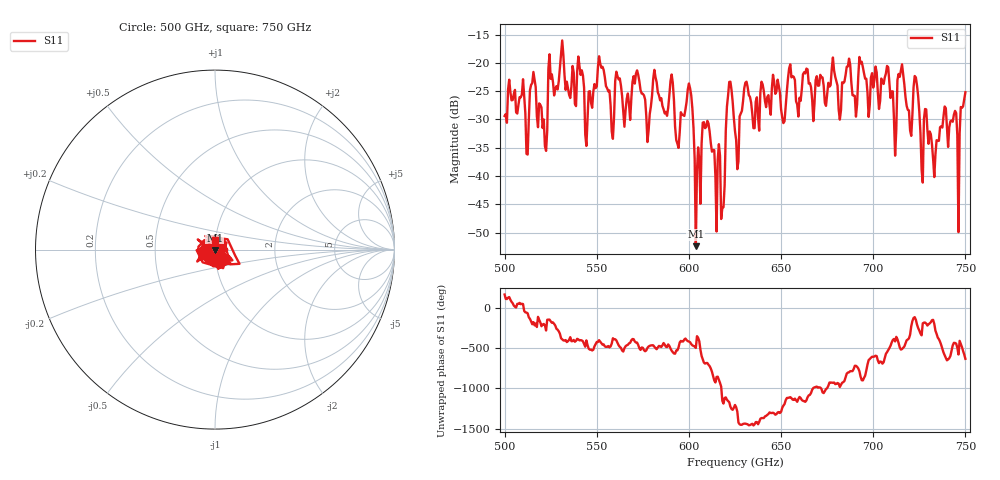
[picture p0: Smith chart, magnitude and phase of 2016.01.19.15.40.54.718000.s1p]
!Created with skrf (http://scikit-rf.org).
# GHz S RI R 50.0
!freq ReS11 ImS11
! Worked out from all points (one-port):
!   401 points, 500 GHz to 750 GHz, reference 50 ohm
!   lowest |S11| = -52.4 dB at 603.8 GHz (marker M1), VSWR 1.00, Z = 49.8 - j0.159 ohm
!   |S11| at or under -10 dB: start of sweep to end of sweep
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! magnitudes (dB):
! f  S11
! 500 GHz  -29.4
! 512.5 GHz  -36.2
! 515.6 GHz  -21.6
! 521.9 GHz  -34.7
! 525 GHz  -22.8
! 531.2 GHz  -16.0
! 545 GHz  -29.8
! 551.9 GHz  -20.1
! 558.1 GHz  -32.2
! 562.5 GHz  -22.8
! 578.1 GHz  -31.9
! 590.6 GHz  -22.1
! 593.8 GHz  -34.3
! 600.6 GHz  -24.5
! 603.8 GHz  -52.4
! 609.4 GHz  -31.3
! 618.1 GHz  -45.6
! 621.9 GHz  -23.4
! 625 GHz  -32.1
! 656.2 GHz  -22.3
! 687.5 GHz  -20.3
! 715 GHz  -21.3
! 718.8 GHz  -28.3
! 723.1 GHz  -22.6
! 726.2 GHz  -38.9
! 733.1 GHz  -40.2
! 746.9 GHz  -32.5
! 750 GHz  -25.2
